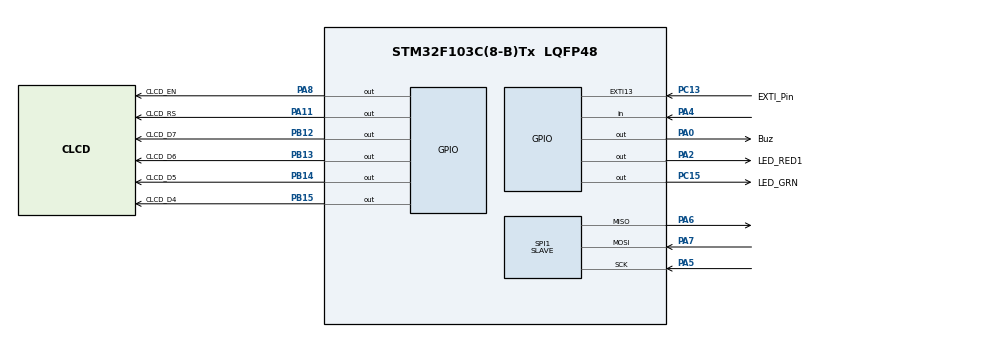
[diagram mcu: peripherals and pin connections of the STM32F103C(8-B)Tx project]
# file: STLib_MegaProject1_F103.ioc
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Mcu.Family=STM32F1
Mcu.Name=STM32F103C(8-B)Tx
Mcu.Package=LQFP48
NVIC.EXTI15_10_IRQn=true\:0\:0\:false\:false\:true\:true\:true\:true
NVIC.PriorityGroup=NVIC_PRIORITYGROUP_4
NVIC.SPI1_IRQn=true\:0\:0\:false\:false\:true\:true\:true\:true
PA0-WKUP.GPIO_Label=Buz
PA0-WKUP.PinState=GPIO_PIN_RESET
PA0-WKUP.Signal=GPIO_Output
PA11.GPIO_Label=CLCD_RS
PA11.Signal=GPIO_Output
PA2.GPIO_Label=LED_RED1
PA2.Signal=GPIO_Output
PA4.Signal=GPIO_Input
PA5.Mode=Full_Duplex_Slave
PA5.Signal=SPI1_SCK
PA6.Mode=Full_Duplex_Slave
PA6.Signal=SPI1_MISO
PA7.Mode=Full_Duplex_Slave
PA7.Signal=SPI1_MOSI
PA8.GPIO_Label=CLCD_EN
PA8.Signal=GPIO_Output
PB12.GPIO_Label=CLCD_D7
PB12.Signal=GPIO_Output
PB13.GPIO_Label=CLCD_D6
PB13.Signal=GPIO_Output
PB14.GPIO_Label=CLCD_D5
PB14.Signal=GPIO_Output
PB15.GPIO_Label=CLCD_D4
PB15.Signal=GPIO_Output
PC13-TAMPER-RTC.GPIO_Label=EXTI_Pin
PC13-TAMPER-RTC.Signal=GPXTI13
PC15-OSC32_OUT.GPIO_Label=LED_GRN
PC15-OSC32_OUT.Signal=GPIO_Output
ProjectManager.HeapSize=0x200
ProjectManager.StackSize=0x400
ProjectManager.TargetToolchain=STM32CubeIDE
RCC.APB1Freq_Value=8000000
RCC.APB2Freq_Value=8000000
SPI1.Direction=SPI_DIRECTION_2LINES
SPI1.Mode=SPI_MODE_SLAVE
SPI1.VirtualType=VM_SLAVE
board=custom

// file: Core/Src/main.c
/* USER CODE BEGIN Header */
/**
  ******************************************************************************
  * @file           : main.c
  * @brief          : Main program body
  ******************************************************************************
  * @attention
  *
  * Copyright (c) 2023 STMicroelectronics.
  * All rights reserved.
  *
  * This software is licensed under terms that can be found in the LICENSE file
  * in the root directory of this software component.
  * If no LICENSE file comes with this software, it is provided AS-IS.
  *
  ******************************************************************************
  */
/* USER CODE END Header */
#include "main.h"

/* USER CODE BEGIN Includes */

#include "StringLib.h"
#include "panda.h"
#include "LED_interface.h"
#include "BZR_interface.h"
#include "CLCD_interface.h"

/* USER CODE END Includes */

SPI_HandleTypeDef hspi1;

/* USER CODE BEGIN PV */

static uint8_t RxCmpltFlag = 0;

static uint8_t SPICmdCode[2];

static uint8_t ReceiveBuffer[35];

GPIO_TypeDef *CtrlPortsArray[] = {PANDA_LCD_RS_PORT, PANDA_LCD_RS_PORT, PANDA_LCD_EN_PORT};
uint16_t CtrlPinsArray[] = {PANDA_LCD_RS_PIN, 0U, PANDA_LCD_EN_PIN};
GPIO_TypeDef *DataPortsArray[] = {PANDA_LCD_D4_PORT, PANDA_LCD_D5_PORT, PANDA_LCD_D6_PORT, PANDA_LCD_D7_PORT};
uint16_t DataPinsArray[] = {PANDA_LCD_D4_PIN, PANDA_LCD_D5_PIN, PANDA_LCD_D6_PIN, PANDA_LCD_D7_PIN};

static CLCD_Config_t CLCDConfig = {
		.CtrlPorts = CtrlPortsArray,
		.CtrlPins = CtrlPinsArray,
		.DataPorts = DataPortsArray,
		.DataPins = DataPinsArray,
		.Mode = CLCD_MODE_4BIT
};
static LED_t RedLed = {PANDA_LED_RED1_PORT, PANDA_LED_RED1_PIN, LED_SOURCE_CONNECTION};
static LED_t GreenLed = {PANDA_LED_GRN_PORT, PANDA_LED_GRN_PIN, LED_SOURCE_CONNECTION};
static BZR_t BuzConfig = {
		.Port = GPIOA,
		.Pin = GPIO_PIN_0,
		.ConnectionType = BZR_SOURCE_CONNECTION
};

static uint8_t BellChar[8] = {
		0b00100,
		0b01110,
		0b01110,
		0b01110,
		0b11111,
		0b00000,
		0b00100,
		0b00000
};

/* USER CODE END PV */

void SystemClock_Config(void);
static void MX_GPIO_Init(void);
static void MX_SPI1_Init(void);
/* USER CODE BEGIN PFP */

void ClearArray(uint8_t *Array, uint16_t Size);

static inline void DisplayTimeDate(void);

static inline void SPIReceive(uint8_t *Buf, uint16_t Size);

/* USER CODE END PFP */

int main(void)
{

  /* MCU Configuration--------------------------------------------------------*/

  /* Reset of all peripherals, Initializes the Flash interface and the Systick. */
  HAL_Init();

  /* Configure the system clock */
  SystemClock_Config();

  /* Initialize all configured peripherals */
  MX_GPIO_Init();
  MX_SPI1_Init();
  /* USER CODE BEGIN 2 */

  CLCD_voidInit(&CLCDConfig);

  CLCD_voidSendString(&CLCDConfig, "Startig...");
//  LED_u8TurnOn(&RedLed);
//  LED_u8TurnOn(&GreenLed);
  HAL_Delay(1500);
  CLCD_voidClearDisplay(&CLCDConfig);
//  LED_u8TurnOff(&RedLed);
//  LED_u8TurnOff(&GreenLed);
//  BZR_u8Beep(&BuzConfig, 5U, 500U);

  /* USER CODE END 2 */

  /* Infinite loop */
  /* USER CODE BEGIN WHILE */
  while (1)
  {
	  SPIReceive(SPICmdCode, 2);
//
//	  if (1 == RxCmpltFlag)
//	  {
	  switch (SPICmdCode[0])
	  {
	  case SPI_CODE_WRONG_PASSWORD: LED_u8TurnOn(&RedLed); LED_u8TurnOff(&GreenLed); break;
	  case SPI_CODE_CORRECT_PASSWORD: LED_u8TurnOn(&GreenLed); LED_u8TurnOff(&RedLed); break;
	  case SPI_CODE_DISPLAY_TIME_DATE: DisplayTimeDate(); break;
	  case SPI_CODE_DISPLAY_ALARM_MESSAGE: break;
	  default: break;
	  }

	  /* Clear SPICmdCode array */
	  ClearArray(SPICmdCode, sizeof(SPICmdCode));
//	  HAL_Delay(1000);
//	  LED_u8TurnOff(&GreenLed);
//
//		  RxCmpltFlag = 0;
//	  }

    /* USER CODE END WHILE */

  }
}

void SystemClock_Config(void)
{
  RCC_OscInitTypeDef RCC_OscInitStruct = {0};
  RCC_ClkInitTypeDef RCC_ClkInitStruct = {0};

  /** Initializes the RCC Oscillators according to the specified parameters
  * in the RCC_OscInitTypeDef structure.
  */
  RCC_OscInitStruct.OscillatorType = RCC_OSCILLATORTYPE_HSI;
  RCC_OscInitStruct.HSIState = RCC_HSI_ON;
  RCC_OscInitStruct.HSICalibrationValue = RCC_HSICALIBRATION_DEFAULT;
  RCC_OscInitStruct.PLL.PLLState = RCC_PLL_NONE;
  if (HAL_RCC_OscConfig(&RCC_OscInitStruct) != HAL_OK)
  {
    Error_Handler();
  }

  /** Initializes the CPU, AHB and APB buses clocks
  */
  RCC_ClkInitStruct.ClockType = RCC_CLOCKTYPE_HCLK|RCC_CLOCKTYPE_SYSCLK
                              |RCC_CLOCKTYPE_PCLK1|RCC_CLOCKTYPE_PCLK2;
  RCC_ClkInitStruct.SYSCLKSource = RCC_SYSCLKSOURCE_HSI;
  RCC_ClkInitStruct.AHBCLKDivider = RCC_SYSCLK_DIV1;
  RCC_ClkInitStruct.APB1CLKDivider = RCC_HCLK_DIV1;
  RCC_ClkInitStruct.APB2CLKDivider = RCC_HCLK_DIV1;

  if (HAL_RCC_ClockConfig(&RCC_ClkInitStruct, FLASH_LATENCY_0) != HAL_OK)
  {
    Error_Handler();
  }
}

static void MX_SPI1_Init(void)
{

  /* SPI1 parameter configuration*/
  hspi1.Instance = SPI1;
  hspi1.Init.Mode = SPI_MODE_SLAVE;
  hspi1.Init.Direction = SPI_DIRECTION_2LINES;
  hspi1.Init.DataSize = SPI_DATASIZE_8BIT;
  hspi1.Init.CLKPolarity = SPI_POLARITY_LOW;
  hspi1.Init.CLKPhase = SPI_PHASE_1EDGE;
  hspi1.Init.NSS = SPI_NSS_SOFT;
  hspi1.Init.FirstBit = SPI_FIRSTBIT_MSB;
  hspi1.Init.TIMode = SPI_TIMODE_DISABLE;
  hspi1.Init.CRCCalculation = SPI_CRCCALCULATION_DISABLE;
  hspi1.Init.CRCPolynomial = 10;
  if (HAL_SPI_Init(&hspi1) != HAL_OK)
  {
    Error_Handler();
  }

}

static void MX_GPIO_Init(void)
{
  GPIO_InitTypeDef GPIO_InitStruct = {0};

  /* GPIO Ports Clock Enable */
  __HAL_RCC_GPIOC_CLK_ENABLE();
  __HAL_RCC_GPIOA_CLK_ENABLE();
  __HAL_RCC_GPIOB_CLK_ENABLE();

  /*Configure GPIO pin Output Level */
  HAL_GPIO_WritePin(LED_GRN_GPIO_Port, LED_GRN_Pin, GPIO_PIN_RESET);

  /*Configure GPIO pin Output Level */
  HAL_GPIO_WritePin(GPIOA, Buz_Pin|LED_RED1_Pin|CLCD_EN_Pin|CLCD_RS_Pin, GPIO_PIN_RESET);

  /*Configure GPIO pin Output Level */
  HAL_GPIO_WritePin(GPIOB, CLCD_D7_Pin|CLCD_D6_Pin|CLCD_D5_Pin|CLCD_D4_Pin, GPIO_PIN_RESET);

  /*Configure GPIO pin : EXTI_Pin_Pin */
  GPIO_InitStruct.Pin = EXTI_Pin_Pin;
  GPIO_InitStruct.Mode = GPIO_MODE_IT_RISING;
  GPIO_InitStruct.Pull = GPIO_NOPULL;
  HAL_GPIO_Init(EXTI_Pin_GPIO_Port, &GPIO_InitStruct);

  /*Configure GPIO pin : LED_GRN_Pin */
  GPIO_InitStruct.Pin = LED_GRN_Pin;
  GPIO_InitStruct.Mode = GPIO_MODE_OUTPUT_PP;
  GPIO_InitStruct.Pull = GPIO_NOPULL;
  GPIO_InitStruct.Speed = GPIO_SPEED_FREQ_LOW;
  HAL_GPIO_Init(LED_GRN_GPIO_Port, &GPIO_InitStruct);

  /*Configure GPIO pins : Buz_Pin LED_RED1_Pin CLCD_EN_Pin CLCD_RS_Pin */
  GPIO_InitStruct.Pin = Buz_Pin|LED_RED1_Pin|CLCD_EN_Pin|CLCD_RS_Pin;
  GPIO_InitStruct.Mode = GPIO_MODE_OUTPUT_PP;
  GPIO_InitStruct.Pull = GPIO_NOPULL;
  GPIO_InitStruct.Speed = GPIO_SPEED_FREQ_LOW;
  HAL_GPIO_Init(GPIOA, &GPIO_InitStruct);

  /*Configure GPIO pin : PA4 */
  GPIO_InitStruct.Pin = GPIO_PIN_4;
  GPIO_InitStruct.Mode = GPIO_MODE_INPUT;
  GPIO_InitStruct.Pull = GPIO_NOPULL;
  HAL_GPIO_Init(GPIOA, &GPIO_InitStruct);

  /*Configure GPIO pins : CLCD_D7_Pin CLCD_D6_Pin CLCD_D5_Pin CLCD_D4_Pin */
  GPIO_InitStruct.Pin = CLCD_D7_Pin|CLCD_D6_Pin|CLCD_D5_Pin|CLCD_D4_Pin;
  GPIO_InitStruct.Mode = GPIO_MODE_OUTPUT_PP;
  GPIO_InitStruct.Pull = GPIO_NOPULL;
  GPIO_InitStruct.Speed = GPIO_SPEED_FREQ_LOW;
  HAL_GPIO_Init(GPIOB, &GPIO_InitStruct);

  /* EXTI interrupt init*/
  HAL_NVIC_SetPriority(EXTI15_10_IRQn, 0, 0);
  HAL_NVIC_EnableIRQ(EXTI15_10_IRQn);

}

/* USER CODE BEGIN 4 */

static inline void DisplayTimeDate(void)
{
	uint8_t Local_u8LoopCounter = 0;
	uint8_t Local_u8NumOfStr = 0;
	uint8_t Local_u8StrLen = StringLength((char*) &ReceiveBuffer[Local_u8LoopCounter]);

	/* Clear receiving buffer */
	ClearArray(ReceiveBuffer, sizeof(ReceiveBuffer));

	SPIReceive(ReceiveBuffer, 27U);
//	HAL_SPI_Receive(&hspi1, ReceiveBuffer, 27U, HAL_MAX_DELAY);

	CLCD_voidClearDisplay(&CLCDConfig);

	CLCD_voidGoToXY(&CLCDConfig, 0U, ((16U - Local_u8StrLen) >> 1U));

	while(('\n' != ReceiveBuffer[Local_u8LoopCounter]) && (Local_u8NumOfStr < 2))
	{
		Local_u8StrLen = StringLength((char*) &ReceiveBuffer[Local_u8LoopCounter]);

		CLCD_voidSendString(&CLCDConfig, (char*) &ReceiveBuffer[Local_u8LoopCounter]);

		Local_u8NumOfStr++;

		if (2 == Local_u8NumOfStr)
		{
			CLCD_voidGoToXY(&CLCDConfig, 1U, ((16U - Local_u8StrLen) >> 1U));
		}

		Local_u8LoopCounter += (Local_u8StrLen + 1U);
	}
}

//void HAL_SPI_RxCpltCallback(SPI_HandleTypeDef *hspi)
//{
//	/* Clear receiving buffer */
//	ClearArray(ReceiveBuffer, sizeof(ReceiveBuffer));
//
//	if (SPI_CODE_DISPLAY_TIME_DATE == SPICmdCode[0])
//	{
//		uint8_t Local_u8LoopCounter = 0;
//		uint8_t Local_u8NumOfStr = 0;
//		uint8_t Local_u8StrLen = StringLength((char*) &ReceiveBuffer[Local_u8LoopCounter]);
//
//		CLCD_voidClearDisplay(&CLCDConfig);
//
//		CLCD_voidGoToXY(&CLCDConfig, 0U, ((16U - Local_u8StrLen) >> 1U));
//
//		while(('\n' != ReceiveBuffer[Local_u8LoopCounter]) && (Local_u8NumOfStr < 2))
//		{
//			Local_u8StrLen = StringLength((char*) &ReceiveBuffer[Local_u8LoopCounter]);
//
//			CLCD_voidSendString(&CLCDConfig, (char*) &ReceiveBuffer[Local_u8LoopCounter]);
//
//			Local_u8NumOfStr++;
//
//			if (2 == Local_u8NumOfStr)
//			{
//				CLCD_voidGoToXY(&CLCDConfig, 1U, ((16U - Local_u8StrLen) >> 1U));
//			}
//
//			Local_u8LoopCounter += (Local_u8StrLen + 1U);
//		}
//	}
//
//	if (SPI_CODE_DISPLAY_ALARM_MESSAGE == SPICmdCode[0])
//	{
//		uint8_t Local_u8LoopCounter = 0;
//		uint8_t Local_u8StrLen = StringLength((char*) &ReceiveBuffer[Local_u8LoopCounter]);
//
//		CLCD_voidClearDisplay(&CLCDConfig);
//
//		CLCD_voidWriteSpecialCharacter(&CLCDConfig, BellChar, 0U, 1U, 0U);
//		CLCD_voidWriteSpecialCharacter(&CLCDConfig, BellChar, 0U, 1U, 15U);
//
//		CLCD_voidGoToXY(&CLCDConfig, 0U, ((16U - Local_u8StrLen) >> 1U));
//
//		while('\n' != ReceiveBuffer[Local_u8LoopCounter])
//		{
//			CLCD_voidSendData(&CLCDConfig, ReceiveBuffer[Local_u8LoopCounter]);
//
//			Local_u8LoopCounter++;
//		}
//	}
//
//	RxCmpltFlag = 1;
//}

void HAL_GPIO_EXTI_Callback(uint16_t GPIO_Pin)
{
	/* Clear receiving buffer */
	ClearArray(ReceiveBuffer, sizeof(ReceiveBuffer));

	SPIReceive(ReceiveBuffer, 17U);
//	HAL_SPI_Receive(&hspi1, ReceiveBuffer, 17U, HAL_MAX_DELAY);

	BZR_u8Beep(&BuzConfig, 20U, 500U);
}

void ClearArray(uint8_t *Array, uint16_t Size)
{
	for (uint16_t LoopCounter = 0; LoopCounter < Size; LoopCounter++)
	{
		Array[LoopCounter] = 0;
	}
}

static inline void SPIReceive(uint8_t *Buf, uint16_t Size)
{
	for(uint8_t LoopCounter = 0; LoopCounter < Size; LoopCounter++)
	{
		HAL_SPI_Receive(&hspi1, &Buf[LoopCounter], 1U, HAL_MAX_DELAY);
	}
}

/* USER CODE END 4 */

void Error_Handler(void)
{
  __disable_irq();
  while (1)
  {
  }
}
